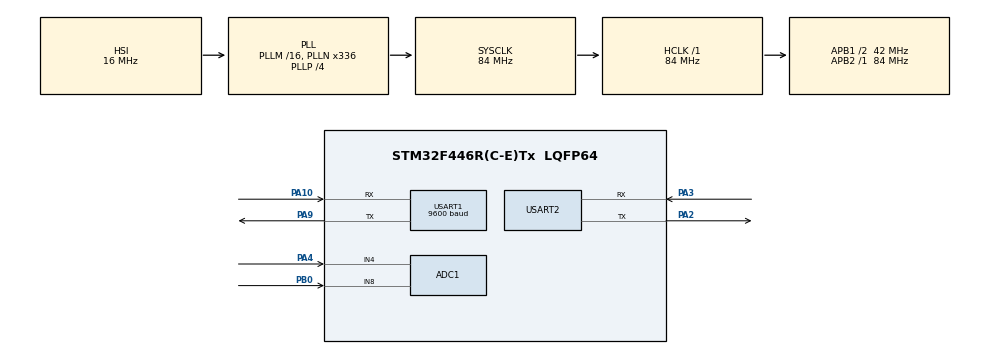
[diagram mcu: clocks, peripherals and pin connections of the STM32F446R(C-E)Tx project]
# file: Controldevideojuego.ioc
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ADC1.Channel-4\#ChannelRegularConversion=ADC_CHANNEL_4
ADC1.Channel-5\#ChannelRegularConversion=ADC_CHANNEL_8
ADC1.ContinuousConvMode=DISABLE
ADC1.DMAContinuousRequests=DISABLE
ADC1.EOCSelection=ADC_EOC_SINGLE_CONV
ADC1.NbrOfConversion=2
ADC1.NbrOfConversionFlag=1
ADC1.Rank-4\#ChannelRegularConversion=1
ADC1.Rank-5\#ChannelRegularConversion=2
ADC1.SamplingTime-4\#ChannelRegularConversion=ADC_SAMPLETIME_84CYCLES
ADC1.SamplingTime-5\#ChannelRegularConversion=ADC_SAMPLETIME_84CYCLES
ADC1.ScanConvMode=ENABLE
ADC1.master=1
Dma.ADC1.0.Direction=DMA_PERIPH_TO_MEMORY
Dma.ADC1.0.FIFOMode=DMA_FIFOMODE_DISABLE
Dma.ADC1.0.Instance=DMA2_Stream0
Dma.ADC1.0.MemDataAlignment=DMA_MDATAALIGN_HALFWORD
Dma.ADC1.0.MemInc=DMA_MINC_ENABLE
Dma.ADC1.0.Mode=DMA_NORMAL
Dma.ADC1.0.PeriphDataAlignment=DMA_PDATAALIGN_HALFWORD
Dma.ADC1.0.PeriphInc=DMA_PINC_DISABLE
Dma.ADC1.0.Priority=DMA_PRIORITY_LOW
Dma.Request0=ADC1
Mcu.Family=STM32F4
Mcu.Name=STM32F446R(C-E)Tx
Mcu.Package=LQFP64
NVIC.DMA2_Stream0_IRQn=true\:0\:0\:false\:false\:true\:false\:true\:true
NVIC.PriorityGroup=NVIC_PRIORITYGROUP_0
NVIC.TIM2_IRQn=true\:0\:0\:false\:false\:true\:true\:true\:true
NVIC.USART1_IRQn=true\:0\:0\:false\:false\:true\:true\:true\:true
PA10.Mode=Asynchronous
PA10.Signal=USART1_RX
PA2.Mode=Asynchronous
PA2.Signal=USART2_TX
PA3.Mode=Asynchronous
PA3.Signal=USART2_RX
PA4.GPIO_Mode=GPIO_MODE_ANALOG
PA4.GPIO_PuPd=GPIO_NOPULL
PA4.Signal=ADCx_IN4
PA9.Mode=Asynchronous
PA9.Signal=USART1_TX
PB0.GPIO_Mode=GPIO_MODE_ANALOG
PB0.GPIO_PuPd=GPIO_NOPULL
PB0.Signal=ADCx_IN8
ProjectManager.HeapSize=0x200
ProjectManager.StackSize=0x400
ProjectManager.TargetToolchain=STM32CubeIDE
RCC.AHBFreq_Value=84000000
RCC.APB1CLKDivider=RCC_HCLK_DIV2
RCC.APB1Freq_Value=42000000
RCC.APB1TimFreq_Value=84000000
RCC.APB2Freq_Value=84000000
RCC.APB2TimFreq_Value=84000000
RCC.CortexFreq_Value=84000000
RCC.FLatency-AdvancedSettings=FLASH_LATENCY_2
RCC.HCLKFreq_Value=84000000
RCC.HSE_VALUE=8000000
RCC.HSI_VALUE=16000000
RCC.LSE_VALUE=32768
RCC.PLLN=336
RCC.PLLP=RCC_PLLP_DIV4
RCC.SYSCLKFreq_VALUE=84000000
RCC.SYSCLKSource=RCC_SYSCLKSOURCE_PLLCLK
RCC.USBFreq_Value=168000000
RCC.VCOOutputFreq_Value=336000000
SH.ADCx_IN4.0=ADC1_IN4,IN4
SH.ADCx_IN8.0=ADC1_IN8,IN8
TIM2.Period=10000
TIM2.Prescaler=8400
USART1.BaudRate=9600
USART1.VirtualMode=VM_ASYNC
USART2.VirtualMode=VM_ASYNC
VP_TIM2_VS_ClockSourceINT.Mode=Internal
board=NUCLEO-F446RE

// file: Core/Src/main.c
/* USER CODE BEGIN Header */
/**
  ******************************************************************************
  * @file           : main.c
  * @brief          : Main program body
  ******************************************************************************
  * @attention
  *
  * Copyright (c) 2026 STMicroelectronics.
  * All rights reserved.
  *
  * This software is licensed under terms that can be found in the LICENSE file
  * in the root directory of this software component.
  * If no LICENSE file comes with this software, it is provided AS-IS.
  *
  ******************************************************************************
  */
/* USER CODE END Header */
#include "main.h"

/* USER CODE BEGIN Includes */
#include <stdio.h>
#include <string.h>
/* USER CODE END Includes */

ADC_HandleTypeDef hadc1;
DMA_HandleTypeDef hdma_adc1;

TIM_HandleTypeDef htim2;

UART_HandleTypeDef huart1;
UART_HandleTypeDef huart2;

/* USER CODE BEGIN PV */
uint8_t rxData1;   // byte recibido del Nano
uint8_t rxData2;   // byte recibido de la PC
char rxBuffer2[50];
uint8_t idx2 = 0;
uint16_t adc_val[2]; // adc_val[0] = X, adc_val[1] = Y

/* USER CODE END PV */

void SystemClock_Config(void);
static void MX_GPIO_Init(void);
static void MX_DMA_Init(void);
static void MX_ADC1_Init(void);
static void MX_USART2_UART_Init(void);
static void MX_TIM2_Init(void);
static void MX_USART1_UART_Init(void);

int main(void)
{

  /* MCU Configuration--------------------------------------------------------*/

  /* Reset of all peripherals, Initializes the Flash interface and the Systick. */
  HAL_Init();

  /* Configure the system clock */
  SystemClock_Config();

  /* Initialize all configured peripherals */
  MX_GPIO_Init();
  MX_DMA_Init();
  MX_ADC1_Init();
  MX_USART2_UART_Init();
  MX_TIM2_Init();
  MX_USART1_UART_Init();
  /* USER CODE BEGIN 2 */
  HAL_UART_Receive_IT(&huart1, &rxData1, 1); // recepción desde el Nano
  HAL_UART_Receive_IT(&huart2, &rxData2, 1); // recepción desde la PC

  HAL_TIM_Base_Start_IT(&htim2);
  HAL_UART_Transmit(&huart2, (uint8_t*)"UART OK\r\n", 9, HAL_MAX_DELAY);

  /* USER CODE END 2 */

  /* Infinite loop */
  while (1)
  {

  }
}

void SystemClock_Config(void)
{
  RCC_OscInitTypeDef RCC_OscInitStruct = {0};
  RCC_ClkInitTypeDef RCC_ClkInitStruct = {0};

  /** Configure the main internal regulator output voltage
  */
  __HAL_RCC_PWR_CLK_ENABLE();
  __HAL_PWR_VOLTAGESCALING_CONFIG(PWR_REGULATOR_VOLTAGE_SCALE3);

  /** Initializes the RCC Oscillators according to the specified parameters
  * in the RCC_OscInitTypeDef structure.
  */
  RCC_OscInitStruct.OscillatorType = RCC_OSCILLATORTYPE_HSI;
  RCC_OscInitStruct.HSIState = RCC_HSI_ON;
  RCC_OscInitStruct.HSICalibrationValue = RCC_HSICALIBRATION_DEFAULT;
  RCC_OscInitStruct.PLL.PLLState = RCC_PLL_ON;
  RCC_OscInitStruct.PLL.PLLSource = RCC_PLLSOURCE_HSI;
  RCC_OscInitStruct.PLL.PLLM = 16;
  RCC_OscInitStruct.PLL.PLLN = 336;
  RCC_OscInitStruct.PLL.PLLP = RCC_PLLP_DIV4;
  RCC_OscInitStruct.PLL.PLLQ = 2;
  RCC_OscInitStruct.PLL.PLLR = 2;
  if (HAL_RCC_OscConfig(&RCC_OscInitStruct) != HAL_OK)
  {
    Error_Handler();
  }

  /** Initializes the CPU, AHB and APB buses clocks
  */
  RCC_ClkInitStruct.ClockType = RCC_CLOCKTYPE_HCLK|RCC_CLOCKTYPE_SYSCLK
                              |RCC_CLOCKTYPE_PCLK1|RCC_CLOCKTYPE_PCLK2;
  RCC_ClkInitStruct.SYSCLKSource = RCC_SYSCLKSOURCE_PLLCLK;
  RCC_ClkInitStruct.AHBCLKDivider = RCC_SYSCLK_DIV1;
  RCC_ClkInitStruct.APB1CLKDivider = RCC_HCLK_DIV2;
  RCC_ClkInitStruct.APB2CLKDivider = RCC_HCLK_DIV1;

  if (HAL_RCC_ClockConfig(&RCC_ClkInitStruct, FLASH_LATENCY_2) != HAL_OK)
  {
    Error_Handler();
  }
}

static void MX_ADC1_Init(void)
{

  ADC_ChannelConfTypeDef sConfig = {0};

  /** Configure the global features of the ADC (Clock, Resolution, Data Alignment and number of conversion)
  */
  hadc1.Instance = ADC1;
  hadc1.Init.ClockPrescaler = ADC_CLOCK_SYNC_PCLK_DIV4;
  hadc1.Init.Resolution = ADC_RESOLUTION_12B;
  hadc1.Init.ScanConvMode = ENABLE;
  hadc1.Init.ContinuousConvMode = DISABLE;
  hadc1.Init.DiscontinuousConvMode = DISABLE;
  hadc1.Init.ExternalTrigConvEdge = ADC_EXTERNALTRIGCONVEDGE_NONE;
  hadc1.Init.ExternalTrigConv = ADC_SOFTWARE_START;
  hadc1.Init.DataAlign = ADC_DATAALIGN_RIGHT;
  hadc1.Init.NbrOfConversion = 2;
  hadc1.Init.DMAContinuousRequests = DISABLE;
  hadc1.Init.EOCSelection = ADC_EOC_SINGLE_CONV;
  if (HAL_ADC_Init(&hadc1) != HAL_OK)
  {
    Error_Handler();
  }

  /** Configure for the selected ADC regular channel its corresponding rank in the sequencer and its sample time.
  */
  sConfig.Channel = ADC_CHANNEL_4;
  sConfig.Rank = 1;
  sConfig.SamplingTime = ADC_SAMPLETIME_84CYCLES;
  if (HAL_ADC_ConfigChannel(&hadc1, &sConfig) != HAL_OK)
  {
    Error_Handler();
  }

  /** Configure for the selected ADC regular channel its corresponding rank in the sequencer and its sample time.
  */
  sConfig.Channel = ADC_CHANNEL_8;
  sConfig.Rank = 2;
  if (HAL_ADC_ConfigChannel(&hadc1, &sConfig) != HAL_OK)
  {
    Error_Handler();
  }

}

static void MX_TIM2_Init(void)
{

  TIM_ClockConfigTypeDef sClockSourceConfig = {0};
  TIM_MasterConfigTypeDef sMasterConfig = {0};

  htim2.Instance = TIM2;
  htim2.Init.Prescaler = 8400;
  htim2.Init.CounterMode = TIM_COUNTERMODE_UP;
  htim2.Init.Period = 10000;
  htim2.Init.ClockDivision = TIM_CLOCKDIVISION_DIV1;
  htim2.Init.AutoReloadPreload = TIM_AUTORELOAD_PRELOAD_DISABLE;
  if (HAL_TIM_Base_Init(&htim2) != HAL_OK)
  {
    Error_Handler();
  }
  sClockSourceConfig.ClockSource = TIM_CLOCKSOURCE_INTERNAL;
  if (HAL_TIM_ConfigClockSource(&htim2, &sClockSourceConfig) != HAL_OK)
  {
    Error_Handler();
  }
  sMasterConfig.MasterOutputTrigger = TIM_TRGO_RESET;
  sMasterConfig.MasterSlaveMode = TIM_MASTERSLAVEMODE_DISABLE;
  if (HAL_TIMEx_MasterConfigSynchronization(&htim2, &sMasterConfig) != HAL_OK)
  {
    Error_Handler();
  }

}

static void MX_USART1_UART_Init(void)
{

  huart1.Instance = USART1;
  huart1.Init.BaudRate = 9600;
  huart1.Init.WordLength = UART_WORDLENGTH_8B;
  huart1.Init.StopBits = UART_STOPBITS_1;
  huart1.Init.Parity = UART_PARITY_NONE;
  huart1.Init.Mode = UART_MODE_TX_RX;
  huart1.Init.HwFlowCtl = UART_HWCONTROL_NONE;
  huart1.Init.OverSampling = UART_OVERSAMPLING_16;
  if (HAL_UART_Init(&huart1) != HAL_OK)
  {
    Error_Handler();
  }

}

static void MX_USART2_UART_Init(void)
{

  huart2.Instance = USART2;
  huart2.Init.BaudRate = 115200;
  huart2.Init.WordLength = UART_WORDLENGTH_8B;
  huart2.Init.StopBits = UART_STOPBITS_1;
  huart2.Init.Parity = UART_PARITY_NONE;
  huart2.Init.Mode = UART_MODE_TX_RX;
  huart2.Init.HwFlowCtl = UART_HWCONTROL_NONE;
  huart2.Init.OverSampling = UART_OVERSAMPLING_16;
  if (HAL_UART_Init(&huart2) != HAL_OK)
  {
    Error_Handler();
  }

}

static void MX_DMA_Init(void)
{

  /* DMA controller clock enable */
  __HAL_RCC_DMA2_CLK_ENABLE();

  /* DMA interrupt init */
  /* DMA2_Stream0_IRQn interrupt configuration */
  HAL_NVIC_SetPriority(DMA2_Stream0_IRQn, 0, 0);
  HAL_NVIC_EnableIRQ(DMA2_Stream0_IRQn);

}

static void MX_GPIO_Init(void)
{

  /* GPIO Ports Clock Enable */
  __HAL_RCC_GPIOA_CLK_ENABLE();
  __HAL_RCC_GPIOB_CLK_ENABLE();

}

/* USER CODE BEGIN 4 */
void HAL_UART_RxCpltCallback(UART_HandleTypeDef *huart) {
    if (huart->Instance == USART1) {
        char *texto;
        switch (rxData1) {
            case '0': texto = "Control 2 (ATMega): Arriba\r\n"; break;
            case '1': texto = "Control 2 (ATMega): Abajo\r\n"; break;
            case '2': texto = "Control 2 (ATMega): Izquierda\r\n"; break;
            case '3': texto = "Control 2 (ATMega): Derecha\r\n"; break;
            case '4': texto = "Control 2 (ATMega): A\r\n"; break;
            case '5': texto = "Control 2 (ATMega): B\r\n"; break;
            default:  texto = "Control 2 (ATMega): (no mapeado)\r\n"; break;
        }
        HAL_UART_Transmit(&huart2, (uint8_t*)texto, strlen(texto), HAL_MAX_DELAY);
        HAL_UART_Receive_IT(&huart1, &rxData1, 1); // reinicia recepción
    }
    if (huart->Instance == USART2) {
        if (rxData2 != '\n') {
            rxBuffer2[idx2++] = rxData2;
        } else {
            rxBuffer2[idx2] = '\0';
            HAL_UART_Transmit(&huart2, (uint8_t*)"Recibido: ", 10, HAL_MAX_DELAY);
            HAL_UART_Transmit(&huart2, (uint8_t*)rxBuffer2, strlen(rxBuffer2), HAL_MAX_DELAY);
            HAL_UART_Transmit(&huart2, (uint8_t*)"\r\n", 2, HAL_MAX_DELAY);
            idx2 = 0;
        }
        HAL_UART_Receive_IT(&huart2, &rxData2, 1); // reinicia recepción
    }
}

void HAL_ADC_ConvCpltCallback(ADC_HandleTypeDef* hadc) {
    if (hadc->Instance == ADC1) {
        if (adc_val[0] > 2048) {
            HAL_UART_Transmit(&huart2, (uint8_t*)"Control 1 (Joystick): Derecha\r\n", 31, HAL_MAX_DELAY);
        } else {
            HAL_UART_Transmit(&huart2, (uint8_t*)"Control 1 (Joystick): Izquierda\r\n", 33, HAL_MAX_DELAY);
        }

        if (adc_val[1] > 2048) {
            HAL_UART_Transmit(&huart2, (uint8_t*)"Control 1 (Joystick): Arriba\r\n", 30, HAL_MAX_DELAY);
        } else {
            HAL_UART_Transmit(&huart2, (uint8_t*)"Control 1 (Joystick): Abajo\r\n", 29, HAL_MAX_DELAY);
        }
    }
}

void HAL_TIM_PeriodElapsedCallback(TIM_HandleTypeDef *htim) {
    if (htim->Instance == TIM2) {
        HAL_ADC_Start_DMA(&hadc1, (uint32_t*)adc_val, 2);
    }
}

/* USER CODE END 4 */

void Error_Handler(void)
{
  __disable_irq();
  while (1)
  {
  }
}
